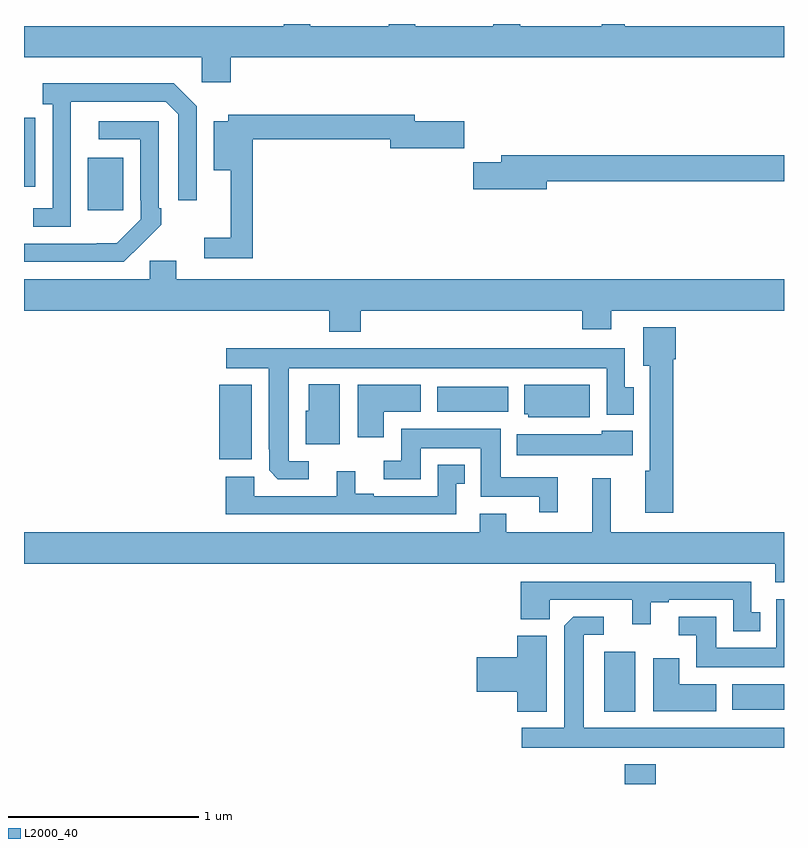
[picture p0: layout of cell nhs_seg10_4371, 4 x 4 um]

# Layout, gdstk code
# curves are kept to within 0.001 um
import gdstk
lib = gdstk.Library(unit=1e-6, precision=1e-09)
def R(c, l, rs):  # rectangles x0, y0, x1, y1
    for r in rs: c.add(gdstk.rectangle(r[:2], r[2:], *l))
def P(c, l, *ps):  # polygons
    for p in ps: c.add(gdstk.Polygon(p, *l))
L2000_40 = (2000, 40)

nhs_seg10_4371 = lib.new_cell('nhs_seg10_4371')
R(nhs_seg10_4371, L2000_40, [(360.161,1288.5,360.326,1288.603), (360.053,1288.88,360.217,1289.197), (360.728,1288.892,361,1289.026), (358.028,1290.209,358.198,1290.601), (359.174,1290.458,359.548,1290.592), (357.335,1291.521,357.523,1291.795)])
P(nhs_seg10_4371, L2000_40, [(361,1292.488),(360.163,1292.488),(360.163,1292.5),(360.041,1292.5),(360.041,1292.488),(359.611,1292.488),(359.611,1292.5),(359.471,1292.5),(359.471,1292.488),(359.059,1292.488),(359.059,1292.5),(358.919,1292.5),(358.919,1292.488),(358.507,1292.488),(358.507,1292.5),(358.367,1292.5),(358.367,1292.488),(357,1292.488),(357,1292.324),(357.936,1292.324),(357.936,1292.193),(358.088,1292.193),(358.088,1292.324),(361,1292.324)],
  [(357.246,1291.891),(357.247,1292.091),(357.747,1292.091),(357.813,1292.025),(357.813,1291.572),(357.909,1291.572),(357.909,1292.067),(357.788,1292.188),(357.099,1292.188),(357.099,1292.078),(357.15,1292.078),(357.15,1291.53),(357.048,1291.53),(357.048,1291.434),(357.246,1291.434)],
  [(358.205,1291.894),(358.928,1291.894),(358.928,1291.847),(359.317,1291.847),(359.317,1291.989),(359.056,1291.989),(359.056,1292.023),(358.074,1292.023),(358.074,1291.987),(357.998,1291.987),(357.998,1291.73),(358.088,1291.73),(358.088,1291.375),(357.948,1291.375),(357.948,1291.266),(358.205,1291.266)],
  [(357.06,1291.898),(357.059,1291.898),(357.059,1292.007),(357,1292.007),(357,1291.644),(357.06,1291.644)],
  [(357.617,1291.339),(357.618,1291.338),(357.723,1291.443),(357.723,1291.531),(357.708,1291.531),(357.708,1291.989),(357.393,1291.989),(357.393,1291.893),(357.612,1291.893),(357.612,1291.573),(357.615,1291.573),(357.615,1291.473),(357.487,1291.345),(357,1291.344),(357,1291.248),(357.526,1291.248)],
  [(359.752,1291.672),(361,1291.672),(361,1291.808),(359.513,1291.808),(359.513,1291.772),(359.364,1291.772),(359.364,1291.63),(359.752,1291.63)],
  [(358.772,1290.992),(359.939,1290.992),(359.939,1290.893),(360.091,1290.893),(360.091,1290.992),(361,1290.992),(361,1291.156),(357.802,1291.156),(357.802,1291.254),(357.663,1291.254),(357.663,1291.156),(357,1291.156),(357,1290.992),(358.607,1290.992),(358.607,1290.881),(358.772,1290.881)],
  [(360.416,1290.735),(360.431,1290.735),(360.431,1290.904),(360.26,1290.904),(360.26,1290.701),(360.293,1290.701),(360.293,1290.15),(360.269,1290.15),(360.269,1289.928),(360.416,1289.928)],
  [(358.498,1290.198),(358.393,1290.198),(358.393,1290.689),(360.066,1290.689),(360.066,1290.444),(360.208,1290.444),(360.208,1290.588),(360.163,1290.588),(360.163,1290.793),(358.065,1290.793),(358.065,1290.689),(358.289,1290.689),(358.29,1290.151),(358.336,1290.105),(358.498,1290.105)],
  [(358.663,1290.604),(358.499,1290.604),(358.499,1290.465),(358.484,1290.465),(358.484,1290.288),(358.663,1290.288)],
  [(358.894,1290.458),(359.089,1290.458),(359.089,1290.601),(358.757,1290.601),(358.757,1290.324),(358.894,1290.324)],
  [(359.977,1290.601),(359.633,1290.601),(359.633,1290.447),(359.655,1290.447),(359.655,1290.431),(359.977,1290.431)],
  [(359.81,1290.115),(359.509,1290.115),(359.509,1290.37),(358.985,1290.37),(358.985,1290.201),(358.893,1290.201),(358.893,1290.105),(359.089,1290.105),(359.089,1290.266),(359.405,1290.266),(359.405,1290.011),(359.711,1290.011),(359.711,1289.931),(359.81,1289.931)],
  [(360.205,1290.358),(360.042,1290.358),(360.042,1290.34),(359.594,1290.34),(359.594,1290.23),(360.205,1290.23)],
  [(359.274,1290.081),(359.32,1290.081),(359.32,1290.181),(359.178,1290.181),(359.178,1290.015),(358.84,1290.015),(358.84,1290.028),(358.744,1290.028),(358.744,1290.145),(358.646,1290.145),(358.646,1290.015),(358.212,1290.015),(358.212,1290.118),(358.061,1290.118),(358.061,1289.919),(359.274,1289.919)],
  [(361,1289.824),(360.089,1289.824),(360.089,1290.109),(359.99,1290.109),(359.99,1289.824),(359.539,1289.824),(359.539,1289.923),(359.399,1289.923),(359.399,1289.824),(357,1289.824),(357,1289.66),(360.953,1289.66),(360.953,1289.561),(361,1289.561)],
  [(360.874,1289.403),(360.828,1289.403),(360.828,1289.565),(359.615,1289.565),(359.615,1289.366),(359.766,1289.366),(359.766,1289.469),(360.2,1289.469),(360.2,1289.34),(360.298,1289.34),(360.298,1289.457),(360.394,1289.457),(360.394,1289.469),(360.732,1289.469),(360.732,1289.303),(360.874,1289.303)],
  [(361,1289.473),(360.959,1289.473),(360.959,1289.218),(360.643,1289.218),(360.643,1289.379),(360.447,1289.379),(360.447,1289.283),(360.539,1289.283),(360.539,1289.114),(361,1289.114)],
  [(361,1288.795),(359.947,1288.795),(359.947,1289.286),(360.052,1289.286),(360.052,1289.379),(359.89,1289.379),(359.844,1289.333),(359.843,1288.795),(359.619,1288.795),(359.619,1288.691),(361,1288.691)],
  [(359.752,1289.281),(359.597,1289.281),(359.597,1289.168),(359.382,1289.168),(359.382,1288.985),(359.597,1288.985),(359.597,1288.88),(359.752,1288.88)],
  [(360.643,1289.026),(360.448,1289.026),(360.448,1289.161),(360.311,1289.161),(360.311,1288.883),(360.643,1288.883)])

lib.write_gds('nhs_seg10_4371.gds')
